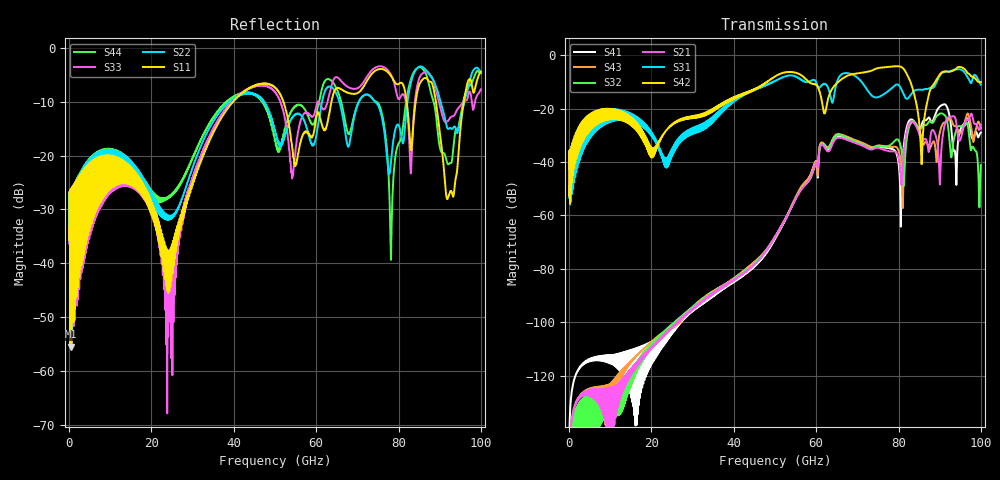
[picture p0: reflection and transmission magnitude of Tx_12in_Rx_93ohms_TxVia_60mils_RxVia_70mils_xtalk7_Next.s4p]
! Info: Touchstone file created by Circ.  Input file=Tx_12in_Rx_93ohms_TxVia_60mils_RxVia_70mils.circ
# Hz S RI R 50
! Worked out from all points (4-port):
!   10000 points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, 10 MHz to 100 GHz, reference 50 ohm
!   strongest paths, dB at 10 MHz, 25.01 GHz, 50.01 GHz, 75.01 GHz, 100 GHz:
!     S42: -52.7, -26.0, -8.0, -4.8, -10.0
!     S31: -53.5, -37.6, -9.7, -15.8, -11.1
!     S21: -167.3, -102.1, -68.0, -34.7, -26.0
!     S32: -170.5, -101.0, -68.0, -34.0, -41.2
!     S43: -154.7, -102.2, -67.9, -33.8, -27.5
!     S41: -150.4, -104.2, -68.7, -34.4, -29.0
!   lowest |S11| = -55.5 dB at 550 MHz (marker M1), VSWR 1.00, Z = 49.8 - j0.0649 ohm
!   |S11| at or under -10 dB: start of sweep to 39.79 GHz; 52.01 GHz to 63.73 GHz (11.72 GHz wide, 20.2 % of centre); 89.08 GHz to 95.86 GHz (6.789 GHz wide, 7.34 % of centre) (the widest 3 of 4)
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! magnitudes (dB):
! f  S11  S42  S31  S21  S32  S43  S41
! 10 MHz  -35.7  -52.7  -53.5  -167.3  -170.5  -154.7  -150.4
! 550 MHz  -55.5  -36.3  -36.4  -137.7  -140.5  -137.3  -127.2
! 24.32 GHz  -45.0  -27.0  -37.2  -102.7  -102.7  -102.8  -102.9
! 44.31 GHz  -7.2  -13.6  -13.6  -79.2  -78.9  -78.3  -79.7
! 65.22 GHz  -7.4  -10.2  -9.3  -31.0  -29.9  -29.5  -30.5
! 78.18 GHz  -5.2  -4.3  -12.6  -36.1  -33.5  -34.4  -35.0
! 100 GHz  -4.4  -10.0  -11.1  -26.0  -41.2  -27.5  -29.0
